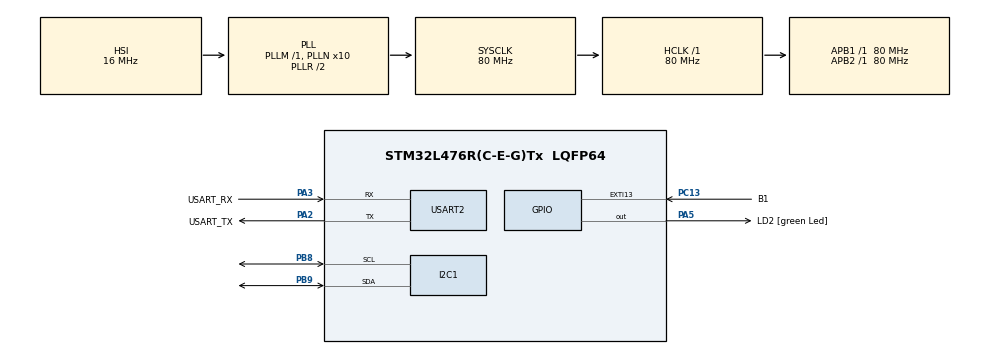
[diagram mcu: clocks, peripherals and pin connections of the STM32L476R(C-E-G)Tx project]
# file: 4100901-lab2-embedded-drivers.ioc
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Dma.I2C1_TX.0.Direction=DMA_MEMORY_TO_PERIPH
Dma.I2C1_TX.0.Instance=DMA1_Channel6
Dma.I2C1_TX.0.MemDataAlignment=DMA_MDATAALIGN_BYTE
Dma.I2C1_TX.0.MemInc=DMA_MINC_ENABLE
Dma.I2C1_TX.0.Mode=DMA_NORMAL
Dma.I2C1_TX.0.PeriphDataAlignment=DMA_PDATAALIGN_BYTE
Dma.I2C1_TX.0.PeriphInc=DMA_PINC_DISABLE
Dma.I2C1_TX.0.Priority=DMA_PRIORITY_MEDIUM
Dma.Request0=I2C1_TX
I2C1.Timing=0x10909CEC
Mcu.Family=STM32L4
Mcu.Name=STM32L476R(C-E-G)Tx
Mcu.Package=LQFP64
NVIC.DMA1_Channel6_IRQn=true\:0\:0\:false\:false\:true\:false\:true\:true
NVIC.EXTI15_10_IRQn=true\:0\:0\:false\:false\:true\:true\:true\:true
NVIC.I2C1_EV_IRQn=true\:0\:0\:false\:false\:true\:true\:true\:true
NVIC.PriorityGroup=NVIC_PRIORITYGROUP_4
PA13\ (JTMS-SWDIO).GPIO_Label=TMS
PA13\ (JTMS-SWDIO).Mode=Serial_Wire
PA13\ (JTMS-SWDIO).Signal=SYS_JTMS-SWDIO
PA14\ (JTCK-SWCLK).GPIO_Label=TCK
PA14\ (JTCK-SWCLK).Mode=Serial_Wire
PA14\ (JTCK-SWCLK).Signal=SYS_JTCK-SWCLK
PA2.GPIO_Label=USART_TX
PA2.GPIO_Mode=GPIO_MODE_AF_PP
PA2.GPIO_PuPd=GPIO_NOPULL
PA2.GPIO_Speed=GPIO_SPEED_FREQ_VERY_HIGH
PA2.Mode=Asynchronous
PA2.Signal=USART2_TX
PA3.GPIO_Label=USART_RX
PA3.GPIO_Mode=GPIO_MODE_AF_PP
PA3.GPIO_PuPd=GPIO_NOPULL
PA3.GPIO_Speed=GPIO_SPEED_FREQ_VERY_HIGH
PA3.Mode=Asynchronous
PA3.Signal=USART2_RX
PA5.GPIO_Label=LD2 [green Led]
PA5.GPIO_ModeDefaultOutputPP=GPIO_MODE_OUTPUT_PP
PA5.GPIO_PuPd=GPIO_NOPULL
PA5.GPIO_Speed=GPIO_SPEED_FREQ_LOW
PA5.Signal=GPIO_Output
PB3\ (JTDO-TRACESWO).GPIO_Label=SWO
PB3\ (JTDO-TRACESWO).Signal=SYS_JTDO-SWO
PB8.Mode=I2C
PB8.Signal=I2C1_SCL
PB9.Mode=I2C
PB9.Signal=I2C1_SDA
PC13.GPIO_Label=B1
PC13.Signal=GPXTI13
PC14-OSC32_IN\ (PC14).Mode=LSE-External-Oscillator
PC14-OSC32_IN\ (PC14).Signal=RCC_OSC32_IN
PC15-OSC32_OUT\ (PC15).Mode=LSE-External-Oscillator
PC15-OSC32_OUT\ (PC15).Signal=RCC_OSC32_OUT
PH0-OSC_IN\ (PH0).Signal=RCC_OSC_IN
PH1-OSC_OUT\ (PH1).Signal=RCC_OSC_OUT
ProjectManager.HeapSize=0x200
ProjectManager.StackSize=0x400
ProjectManager.TargetToolchain=STM32CubeIDE
RCC.ADCFreq_Value=64000000
RCC.AHBFreq_Value=80000000
RCC.APB1Freq_Value=80000000
RCC.APB1TimFreq_Value=80000000
RCC.APB2Freq_Value=80000000
RCC.APB2TimFreq_Value=80000000
RCC.CortexFreq_Value=80000000
RCC.HCLKFreq_Value=80000000
RCC.HSE_VALUE=8000000
RCC.HSI_VALUE=16000000
RCC.MSI_VALUE=4000000
RCC.PLLN=10
RCC.PLLSourceVirtual=RCC_PLLSOURCE_HSI
RCC.PREFETCH_ENABLE=1
RCC.SYSCLKFreq_VALUE=80000000
RCC.SYSCLKSource=RCC_SYSCLKSOURCE_PLLCLK
RCC.USBFreq_Value=64000000
RCC.VCOOutputFreq_Value=160000000
USART2.VirtualMode-Asynchronous=VM_ASYNC
board=NUCLEO-L476RG

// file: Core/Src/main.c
/* USER CODE BEGIN Header */
/**
  ******************************************************************************
  * @file           : main.c
  * @brief          : Main program body
  ******************************************************************************
  * @attention
  *
  * Copyright (c) 2024 STMicroelectronics.
  * All rights reserved.
  *
  * This software is licensed under terms that can be found in the LICENSE file
  * in the root directory of this software component.
  * If no LICENSE file comes with this software, it is provided AS-IS.
  *
  ******************************************************************************
  */
/* USER CODE END Header */
#include "main.h"

/* USER CODE BEGIN Includes */
#include <stdio.h>

#include "ssd1306.h"
#include "ssd1306_fonts.h"
/* USER CODE END Includes */

/* USER CODE BEGIN PM */
#define AWAKE_TIME (5 * 1000) // 5 segundos
/* USER CODE END PM */

I2C_HandleTypeDef hi2c1;
DMA_HandleTypeDef hdma_i2c1_tx;

UART_HandleTypeDef huart2;

/* USER CODE BEGIN PV */
uint8_t button_pressed = 0;
/* USER CODE END PV */

void SystemClock_Config(void);
static void MX_GPIO_Init(void);
static void MX_DMA_Init(void);
static void MX_USART2_UART_Init(void);
static void MX_I2C1_Init(void);

/* USER CODE BEGIN 0 */
int _write(int file, char *ptr, int len)
{
  HAL_UART_Transmit(&huart2, (uint8_t *)ptr, len, 10);
  return len;
}

void HAL_GPIO_EXTI_Callback(uint16_t GPIO_Pin)
{
	if (GPIO_Pin == B1_Pin) {
		button_pressed = 1;
	}
}

void SystemClock_Decrease(void)
{
  RCC_ClkInitTypeDef RCC_ClkInitStruct = {0};
  RCC_OscInitTypeDef RCC_OscInitStruct = {0};

  /* MSI is enabled in range 0 (100Khz) */
  RCC_OscInitStruct.OscillatorType = RCC_OSCILLATORTYPE_MSI;
  RCC_OscInitStruct.MSIState = RCC_MSI_ON;
  RCC_OscInitStruct.MSIClockRange = RCC_MSIRANGE_0;
  RCC_OscInitStruct.MSICalibrationValue = RCC_MSICALIBRATION_DEFAULT;
  RCC_OscInitStruct.PLL.PLLState = RCC_PLL_NONE;
  if(HAL_RCC_OscConfig(&RCC_OscInitStruct) != HAL_OK)
  {
    /* Initialization Error */
    Error_Handler();
  }

  /* Select MSI as system clock source and keep HCLK, PCLK1 and PCLK2 clocks dividers as before */
  RCC_ClkInitStruct.ClockType = RCC_CLOCKTYPE_SYSCLK;
  RCC_ClkInitStruct.SYSCLKSource = RCC_SYSCLKSOURCE_MSI;
  if(HAL_RCC_ClockConfig(&RCC_ClkInitStruct, FLASH_LATENCY_0) != HAL_OK)
  {
    /* Initialization Error */
    Error_Handler();
  }

  /* Disable HSI to reduce power consumption since MSI is used from that point */
  __HAL_RCC_HSI_DISABLE();

}

void low_power_lprun_mode()
{
	static uint32_t sleep_tick = AWAKE_TIME;

	if (sleep_tick > HAL_GetTick()) {
		return;
	}
	printf("LP Run Mode\r\n");
	sleep_tick = HAL_GetTick() + AWAKE_TIME;

	/* Reduce the System clock to below 2 MHz (100 KHz chosen, clocked by MSI) */
	SystemClock_Decrease();

	/* Suspend Tick increment for power consumption purposes         */
	HAL_SuspendTick();

	/* Enter LP RUN mode */
	HAL_PWREx_EnableLowPowerRunMode();

	/* Wait Until User push-button pressed */
	while(HAL_GPIO_ReadPin(B1_GPIO_Port, B1_Pin) == GPIO_PIN_RESET)
	{
	}
	/* Wait Until User push-button released */
	while(HAL_GPIO_ReadPin(B1_GPIO_Port, B1_Pin) != GPIO_PIN_RESET)
	{
	}

	/* System is Low Power Run mode when exiting Low Power Sleep mode,
	disable low power run mode and reset the clock to initialization configuration */
	HAL_PWREx_DisableLowPowerRunMode();

	SystemClock_Config();

	/* Resume Tick interrupt if disabled prior to Low Power Run mode entry */
	HAL_ResumeTick();

	printf("Awake\r\n");
}

void low_power_sleep_mode(void)
{
#define AWAKE_TIME (5 * 1000) // 10 segundos
	static uint32_t sleep_tick = AWAKE_TIME;

	if (sleep_tick > HAL_GetTick()) {
		return;
	}
	printf("Sleeping\r\n");
	sleep_tick = HAL_GetTick() + AWAKE_TIME;

	RCC->AHB1SMENR  = 0x0;
	RCC->AHB2SMENR  = 0x0;
	RCC->AHB3SMENR  = 0x0;

	RCC->APB1SMENR1 = 0x0;
	RCC->APB1SMENR2 = 0x0;
	RCC->APB2SMENR  = 0x0;

	/*Suspend Tick increment to prevent wakeup by Systick interrupt.
	Otherwise the Systick interrupt will wake up the device within 1ms (HAL time base)*/
	HAL_SuspendTick();

	/* Enter Sleep Mode , wake up is done once User push-button is pressed */
	HAL_PWR_EnterSLEEPMode(PWR_MAINREGULATOR_ON, PWR_SLEEPENTRY_WFI);

	/* Resume Tick interrupt if disabled prior to SLEEP mode entry */
	HAL_ResumeTick();

	printf("Awake\r\n");
}

void hearbeat(void)
{
	static uint32_t tick = 0;
	if (tick < HAL_GetTick()) {
		tick = HAL_GetTick() + 500;
		HAL_GPIO_TogglePin(LD2_GPIO_Port, LD2_Pin);
	}
}
/* USER CODE END 0 */

int main(void)
{

  /* MCU Configuration--------------------------------------------------------*/

  /* Reset of all peripherals, Initializes the Flash interface and the Systick. */
  HAL_Init();

  /* Configure the system clock */
  SystemClock_Config();

  /* Initialize all configured peripherals */
  MX_GPIO_Init();
  MX_DMA_Init();
  MX_USART2_UART_Init();
  MX_I2C1_Init();
  /* USER CODE BEGIN 2 */
  ssd1306_Init();
  ssd1306_Fill(Black);
  ssd1306_SetCursor(30, 30);
  ssd1306_WriteString("Welcome!", Font_7x10, White);
  ssd1306_UpdateScreen();
  /* USER CODE END 2 */

  /* Infinite loop */
  /* USER CODE BEGIN WHILE */
  printf("starting...\r\n");
  uint8_t press_count = 0;
  while (1)
  {
	  hearbeat();
	  if (button_pressed != 0) {
		press_count++;
		char str[2] = {press_count + '0', 0};
		ssd1306_Fill(Black);
		ssd1306_SetCursor(60, 35);
		ssd1306_WriteString(str, Font_7x10, White);
		ssd1306_UpdateScreen();
		button_pressed = 0;
	  }
	  low_power_lprun_mode();
	  //low_power_sleep_mode();
    /* USER CODE END WHILE */

  }
}

void SystemClock_Config(void)
{
  RCC_OscInitTypeDef RCC_OscInitStruct = {0};
  RCC_ClkInitTypeDef RCC_ClkInitStruct = {0};

  /** Configure the main internal regulator output voltage
  */
  if (HAL_PWREx_ControlVoltageScaling(PWR_REGULATOR_VOLTAGE_SCALE1) != HAL_OK)
  {
    Error_Handler();
  }

  /** Initializes the RCC Oscillators according to the specified parameters
  * in the RCC_OscInitTypeDef structure.
  */
  RCC_OscInitStruct.OscillatorType = RCC_OSCILLATORTYPE_HSI;
  RCC_OscInitStruct.HSIState = RCC_HSI_ON;
  RCC_OscInitStruct.HSICalibrationValue = RCC_HSICALIBRATION_DEFAULT;
  RCC_OscInitStruct.PLL.PLLState = RCC_PLL_ON;
  RCC_OscInitStruct.PLL.PLLSource = RCC_PLLSOURCE_HSI;
  RCC_OscInitStruct.PLL.PLLM = 1;
  RCC_OscInitStruct.PLL.PLLN = 10;
  RCC_OscInitStruct.PLL.PLLP = RCC_PLLP_DIV7;
  RCC_OscInitStruct.PLL.PLLQ = RCC_PLLQ_DIV2;
  RCC_OscInitStruct.PLL.PLLR = RCC_PLLR_DIV2;
  if (HAL_RCC_OscConfig(&RCC_OscInitStruct) != HAL_OK)
  {
    Error_Handler();
  }

  /** Initializes the CPU, AHB and APB buses clocks
  */
  RCC_ClkInitStruct.ClockType = RCC_CLOCKTYPE_HCLK|RCC_CLOCKTYPE_SYSCLK
                              |RCC_CLOCKTYPE_PCLK1|RCC_CLOCKTYPE_PCLK2;
  RCC_ClkInitStruct.SYSCLKSource = RCC_SYSCLKSOURCE_PLLCLK;
  RCC_ClkInitStruct.AHBCLKDivider = RCC_SYSCLK_DIV1;
  RCC_ClkInitStruct.APB1CLKDivider = RCC_HCLK_DIV1;
  RCC_ClkInitStruct.APB2CLKDivider = RCC_HCLK_DIV1;

  if (HAL_RCC_ClockConfig(&RCC_ClkInitStruct, FLASH_LATENCY_4) != HAL_OK)
  {
    Error_Handler();
  }
}

static void MX_I2C1_Init(void)
{

  hi2c1.Instance = I2C1;
  hi2c1.Init.Timing = 0x10909CEC;
  hi2c1.Init.OwnAddress1 = 0;
  hi2c1.Init.AddressingMode = I2C_ADDRESSINGMODE_7BIT;
  hi2c1.Init.DualAddressMode = I2C_DUALADDRESS_DISABLE;
  hi2c1.Init.OwnAddress2 = 0;
  hi2c1.Init.OwnAddress2Masks = I2C_OA2_NOMASK;
  hi2c1.Init.GeneralCallMode = I2C_GENERALCALL_DISABLE;
  hi2c1.Init.NoStretchMode = I2C_NOSTRETCH_DISABLE;
  if (HAL_I2C_Init(&hi2c1) != HAL_OK)
  {
    Error_Handler();
  }

  /** Configure Analogue filter
  */
  if (HAL_I2CEx_ConfigAnalogFilter(&hi2c1, I2C_ANALOGFILTER_ENABLE) != HAL_OK)
  {
    Error_Handler();
  }

  /** Configure Digital filter
  */
  if (HAL_I2CEx_ConfigDigitalFilter(&hi2c1, 0) != HAL_OK)
  {
    Error_Handler();
  }

}

static void MX_USART2_UART_Init(void)
{

  huart2.Instance = USART2;
  huart2.Init.BaudRate = 115200;
  huart2.Init.WordLength = UART_WORDLENGTH_8B;
  huart2.Init.StopBits = UART_STOPBITS_1;
  huart2.Init.Parity = UART_PARITY_NONE;
  huart2.Init.Mode = UART_MODE_TX_RX;
  huart2.Init.HwFlowCtl = UART_HWCONTROL_NONE;
  huart2.Init.OverSampling = UART_OVERSAMPLING_16;
  huart2.Init.OneBitSampling = UART_ONE_BIT_SAMPLE_DISABLE;
  huart2.AdvancedInit.AdvFeatureInit = UART_ADVFEATURE_NO_INIT;
  if (HAL_UART_Init(&huart2) != HAL_OK)
  {
    Error_Handler();
  }

}

static void MX_DMA_Init(void)
{

  /* DMA controller clock enable */
  __HAL_RCC_DMA1_CLK_ENABLE();

  /* DMA interrupt init */
  /* DMA1_Channel6_IRQn interrupt configuration */
  HAL_NVIC_SetPriority(DMA1_Channel6_IRQn, 0, 0);
  HAL_NVIC_EnableIRQ(DMA1_Channel6_IRQn);

}

static void MX_GPIO_Init(void)
{
  GPIO_InitTypeDef GPIO_InitStruct = {0};

  /* GPIO Ports Clock Enable */
  __HAL_RCC_GPIOC_CLK_ENABLE();
  __HAL_RCC_GPIOH_CLK_ENABLE();
  __HAL_RCC_GPIOA_CLK_ENABLE();
  __HAL_RCC_GPIOB_CLK_ENABLE();

  /*Configure GPIO pin Output Level */
  HAL_GPIO_WritePin(LD2_GPIO_Port, LD2_Pin, GPIO_PIN_RESET);

  /*Configure GPIO pin : B1_Pin */
  GPIO_InitStruct.Pin = B1_Pin;
  GPIO_InitStruct.Mode = GPIO_MODE_IT_RISING;
  GPIO_InitStruct.Pull = GPIO_NOPULL;
  HAL_GPIO_Init(B1_GPIO_Port, &GPIO_InitStruct);

  /*Configure GPIO pin : LD2_Pin */
  GPIO_InitStruct.Pin = LD2_Pin;
  GPIO_InitStruct.Mode = GPIO_MODE_OUTPUT_PP;
  GPIO_InitStruct.Pull = GPIO_NOPULL;
  GPIO_InitStruct.Speed = GPIO_SPEED_FREQ_LOW;
  HAL_GPIO_Init(LD2_GPIO_Port, &GPIO_InitStruct);

  /* EXTI interrupt init*/
  HAL_NVIC_SetPriority(EXTI15_10_IRQn, 0, 0);
  HAL_NVIC_EnableIRQ(EXTI15_10_IRQn);

}

void Error_Handler(void)
{
  __disable_irq();
  while (1)
  {
  }
}
